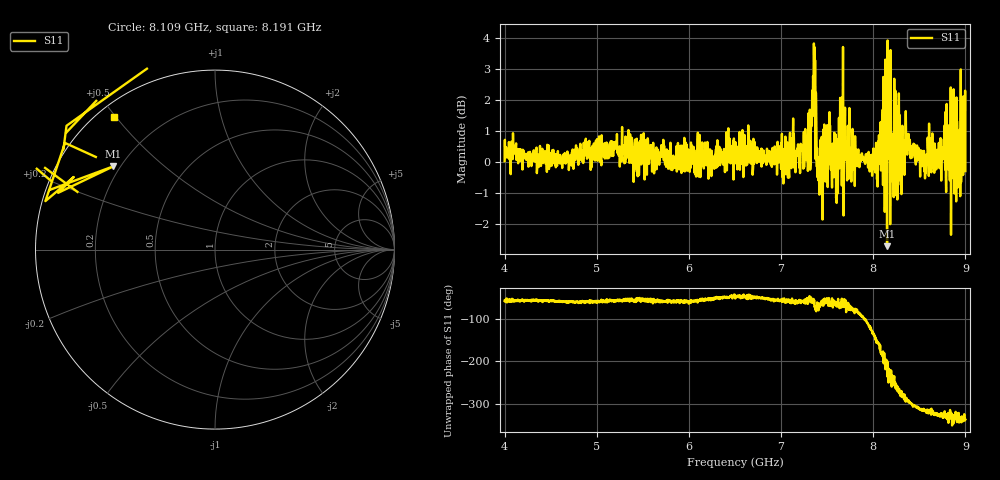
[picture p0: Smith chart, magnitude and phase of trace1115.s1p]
! Created with skrf 1.8.0 (http://scikit-rf.org).
# Hz S RI R 50.0
!freq ReS11 ImS11
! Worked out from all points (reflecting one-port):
!   1601 points, 4 GHz to 9 GHz, reference 50 ohm
!   lowest |S11| = -2.7 dB at 8.15 GHz (marker M1), VSWR 6.46, Z = 8.71 + j17.4 ohm
!   phase of S11 starts at -59 deg and turns -277 deg over the sweep
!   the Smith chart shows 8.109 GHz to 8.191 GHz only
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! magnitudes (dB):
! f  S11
! 4 GHz  0.0
! 4.625 GHz  -0.2
! 5.25 GHz  -0.1
! 5.875 GHz  0.3
! 6.5 GHz  0.3
! 7.125 GHz  0.0
! 7.294 GHz  -0.1
! 7.356 GHz  3.8
! 7.372 GHz  2.1
! 7.4 GHz  0.0
! 7.428 GHz  0.7
! 7.509 GHz  0.3
! 7.609 GHz  -0.2
! 7.65 GHz  1.1
! 7.75 GHz  -0.3
! 8.034 GHz  0.4
! 8.097 GHz  0.0
! 8.15 GHz  -2.7
! 8.178 GHz  1.8
! 8.209 GHz  0.7
! 8.253 GHz  0.8
! 8.312 GHz  0.7
! 8.375 GHz  0.9
! 8.556 GHz  -0.3
! 8.884 GHz  2.0
! 8.919 GHz  -0.1
! 8.972 GHz  0.6
! 9 GHz  -0.3
